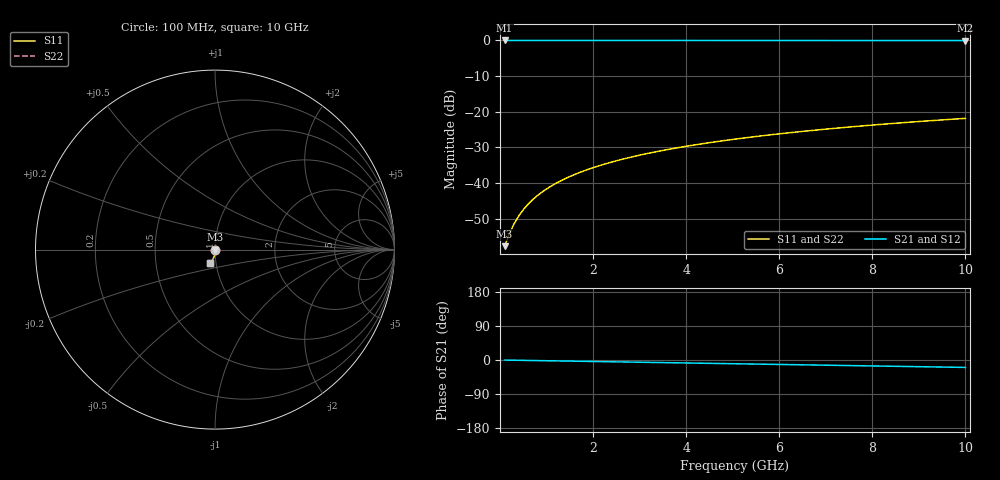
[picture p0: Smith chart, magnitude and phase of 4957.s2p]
# Hz S RI R 50.00
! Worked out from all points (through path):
!   100 points, 100 MHz to 10 GHz, reference 50 ohm
!   highest |S21| = -0.01 dB at 100 MHz (marker M1); lowest = 0.0 dB at 10 GHz (marker M2)
!   group delay of S21, straight-line fit = 5.44 ps
!   lowest |S11| = -57.7 dB at 100 MHz (marker M3), VSWR 1.00, Z = 50.1 - j0.0826 ohm
!   |S11| at or under -10 dB: start of sweep to end of sweep
!   |S22| runs from -57.7 to -21.9 dB; largest |S21 - S12| = 0
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1e8  0.00101 -0.000824  0.999 -0.00341  0.999 -0.00341  0.00101 -0.000824
2e8  0.00101 -0.00165  0.9989 -0.00682  0.9989 -0.00682  0.00101 -0.00165
3e8  0.000999 -0.00247  0.9989 -0.0102  0.9989 -0.0102  0.000999 -0.00247
4e8  0.000981 -0.0033  0.9989 -0.0136  0.9989 -0.0136  0.000981 -0.0033
5e8  0.000958 -0.00412  0.9988 -0.0171  0.9988 -0.0171  0.000958 -0.00412
6e8  0.000928 -0.00494  0.9987 -0.0205  0.9987 -0.0205  0.000928 -0.00494
7e8  0.000892 -0.00577  0.9986 -0.0239  0.9986 -0.0239  0.000892 -0.00577
9e8  0.000804 -0.00741  0.9984 -0.0307  0.9984 -0.0307  0.000804 -0.00741
1e9  0.000751 -0.00824  0.9983 -0.0341  0.9983 -0.0341  0.000751 -0.00824
1.2e9  0.000627 -0.00988  0.998 -0.0409  0.998 -0.0409  0.000627 -0.00988
1.5e9  0.0004 -0.0123  0.9975 -0.0511  0.9975 -0.0511  0.0004 -0.0123
1.8e9  0.000122 -0.0148  0.9969 -0.0614  0.9969 -0.0614  0.000122 -0.0148
2.1e9  -0.000208 -0.0173  0.9962 -0.0716  0.9962 -0.0716  -0.000208 -0.0173
2.5e9  -0.000725 -0.0205  0.995 -0.0852  0.995 -0.0852  -0.000725 -0.0205
2.9e9  -0.00133 -0.0238  0.9937 -0.0987  0.9937 -0.0987  -0.00133 -0.0238
3.4e9  -0.00221 -0.0278  0.9917 -0.1157  0.9917 -0.1157  -0.00221 -0.0278
4.2e9  -0.00391 -0.0342  0.988 -0.1427  0.988 -0.1427  -0.00391 -0.0342
5.1e9  -0.00624 -0.0413  0.9828 -0.173  0.9828 -0.173  -0.00624 -0.0413
5.9e9  -0.00867 -0.0474  0.9774 -0.1998  0.9774 -0.1998  -0.00867 -0.0474
6.7e9  -0.0114 -0.0535  0.9712 -0.2264  0.9712 -0.2264  -0.0114 -0.0535
8.4e9  -0.0184 -0.0657  0.9555 -0.2822  0.9555 -0.2822  -0.0184 -0.0657
1e10  -0.0262 -0.0765  0.9377 -0.3338  0.9377 -0.3338  -0.0262 -0.0765
